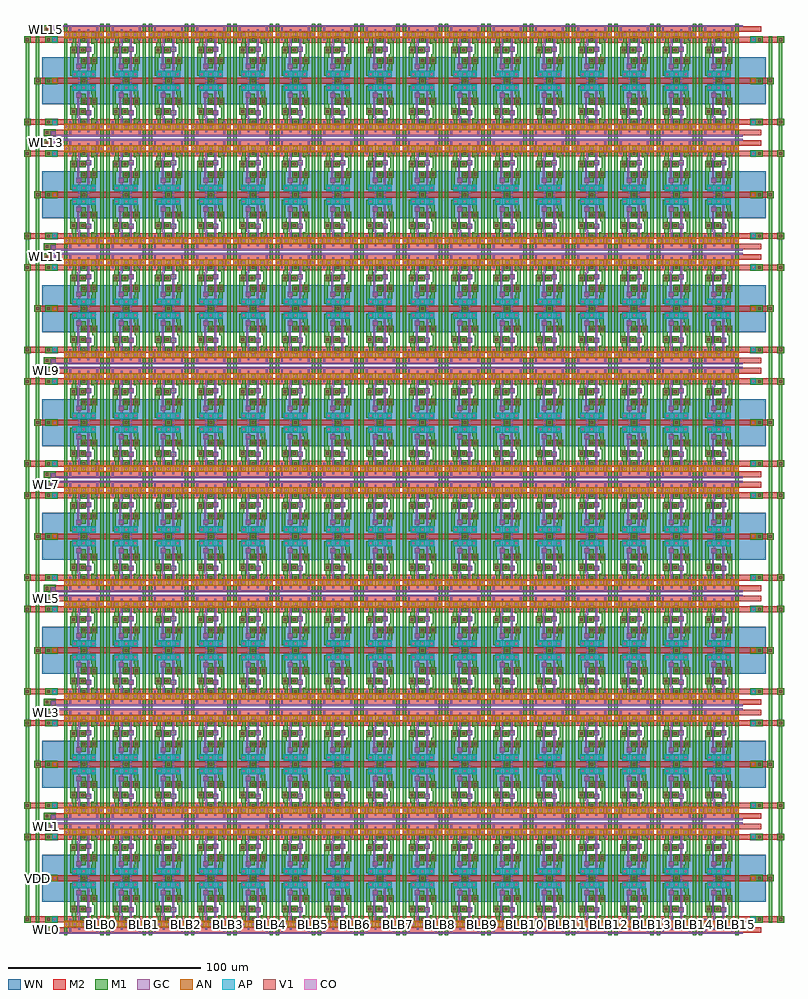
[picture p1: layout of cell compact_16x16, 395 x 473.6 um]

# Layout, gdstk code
import gdstk
lib = gdstk.Library(unit=1e-6, precision=1e-07)
def R(c, l, rs):  # rectangles x0, y0, x1, y1
    for r in rs: c.add(gdstk.rectangle(r[:2], r[2:], *l))
def A(c, l, x, y, w, h, nx, ny, dx, dy):  # array of equal rectangles
    R(c, l, [(x+i*dx, y+j*dy, x+i*dx+w, y+j*dy+h) for i in range(nx) for j in range(ny)])
def P(c, l, *ps):  # polygons
    for p in ps: c.add(gdstk.Polygon(p, *l))
AP = (3, 1)
AN = (3, 2)
GC = (8, 1)
CO = (11, 0)
M1 = (13, 0)
V1 = (19, 0)
M2 = (20, 0)
WN = (140, 0)

compact_core = lib.new_cell('compact_core')
R(compact_core, AP, [(3.5,18.7,15.7,22.1)])
R(compact_core, AN, [(-0.7,-1.7,19.9,1.7)])
R(compact_core, GC, [(0,-5.1,22,-4.1), (2.1,-5.1,3.1,2.9), (16.1,-5.1,17.1,2.9), (6.7,-2.9,7.7,5.6), (11.5,-2.9,12.5,23.3), (6.1,4.6,7.7,5.6), (6.1,4.6,7.1,17.9), (10.9,6.1,13.5,8.7), (11.5,6.9,12.7,7.9), (5.7,15.1,8.3,17.7), (6.1,15.9,7.5,16.9), (6.1,16.9,7.7,17.9), (6.7,16.9,7.7,23.3)])
A(compact_core, CO, 4.3, -0.5, 1, 1, 3, 2, 4.8, 20.4)
R(compact_core, CO, [(0.1,-0.5,1.1,0.5), (18.1,-0.5,19.1,0.5), (11.7,6.9,12.7,7.9), (6.5,15.9,7.5,16.9)])
P(compact_core, M1, [(8.3,-1.3),(8.3,0.8),(7.9,0.8),(7.9,4.2),(11.3,4.2),(11.3,0.8),(10.9,0.8),(10.9,-1.3)],
  [(10.9,6.1),(10.9,6.2),(7.3,6.2),(7.3,9.6),(10.7,9.6),(10.7,8.7),(13.5,8.7),(13.5,6.1)],
  [(7.9,11.6),(7.9,15.1),(5.7,15.1),(5.7,17.7),(8.3,17.7),(8.3,17.3),(10.5,17.3),(10.5,15),(11.3,15),(11.3,11.6)],
  [(3.5,-1.3),(3.5,1.3),(3.9,1.3),(3.9,4.1),(3.3,4.1),(3.3,6.2),(2.5,6.2),(2.5,21.3),(3.5,21.3),(3.5,21.7),(6.1,21.7),(6.1,19.1),(4.3,19.1),(4.3,11.9),(5.1,11.9),(5.1,9.6),(5.9,9.6),(5.9,6.2),(5.7,6.2),(5.7,1.3),(6.1,1.3),(6.1,-1.3)],
  [(13.1,-1.3),(13.1,1.3),(13.5,1.3),(13.5,4.5),(14.9,4.5),(14.9,10.1),(14.1,10.1),(14.1,11.6),(13.3,11.6),(13.3,15),(14.1,15),(14.1,16.9),(13.5,16.9),(13.5,19.1),(13.1,19.1),(13.1,21.7),(15.7,21.7),(15.7,18.7),(15.9,18.7),(15.9,15),(16.7,15),(16.7,2.7),(15.7,2.7),(15.7,-1.3)],
  [(-0.7,-5.7),(-0.7,23.9),(1.1,23.9),(1.1,1.3),(1.9,1.3),(1.9,-1.3),(1.1,-1.3),(1.1,-5.7)],
  [(18.1,-5.7),(18.1,-1.3),(17.3,-1.3),(17.3,1.3),(18.1,1.3),(18.1,23.9),(19.9,23.9),(19.9,-5.7)],
  [(8.3,19.1),(8.3,22.2),(7.9,22.2),(7.9,25.6),(11.3,25.6),(11.3,22.2),(10.9,22.2),(10.9,19.1)])
R(compact_core, V1, [(8.9,1.8,10.3,3.2), (3.5,7.2,4.9,8.6), (8.3,7.2,9.7,8.6), (8.9,12.6,10.3,14), (14.3,12.6,15.7,14), (8.9,23.2,10.3,24.6)])
R(compact_core, M2, [(0,-4.5,22,-1.5), (7.9,0.8,11.3,4.2), (0,1,22,4), (2.5,6.2,5.9,9.6), (2.5,6.2,10.7,9.6), (7.3,6.2,10.7,9.6), (7.9,11.6,11.3,15), (7.9,11.6,16.7,15), (13.3,11.6,16.7,15), (7.9,22.2,11.3,25.6), (0,22.4,22,25.4)])
R(compact_core, WN, [(-3.5,11.7,25.5,29.1)])

compact_16x16 = lib.new_cell('compact_16x16')
R(compact_16x16, AP, [(-6.9,6.9,-4.3,9.5), (356.3,6.9,358.9,9.5), (-6.9,49.7,-4.3,52.3), (356.3,49.7,358.9,52.3), (-6.9,66.1,-4.3,68.7), (356.3,66.1,358.9,68.7), (-6.9,108.9,-4.3,111.5), (356.3,108.9,358.9,111.5), (-6.9,125.3,-4.3,127.9), (356.3,125.3,358.9,127.9), (-6.9,168.1,-4.3,170.7), (356.3,168.1,358.9,170.7), (-6.9,184.5,-4.3,187.1), (356.3,184.5,358.9,187.1), (-6.9,227.3,-4.3,229.9), (356.3,227.3,358.9,229.9), (-6.9,243.7,-4.3,246.3), (356.3,243.7,358.9,246.3), (-6.9,286.5,-4.3,289.1), (356.3,286.5,358.9,289.1), (-6.9,302.9,-4.3,305.5), (356.3,302.9,358.9,305.5), (-6.9,345.7,-4.3,348.3), (356.3,345.7,358.9,348.3), (-6.9,362.1,-4.3,364.7), (356.3,362.1,358.9,364.7), (-6.9,404.9,-4.3,407.5), (356.3,404.9,358.9,407.5), (-6.9,421.3,-4.3,423.9), (356.3,421.3,358.9,423.9), (-6.9,464.1,-4.3,466.7), (356.3,464.1,358.9,466.7)])
A(compact_16x16, AN, -6.9, 28.3, 2.6, 2.6, 1, 8, 0, 59.2)
A(compact_16x16, AN, 356.3, 28.3, 2.6, 2.6, 1, 8, 0, 59.2)
R(compact_16x16, GC, [(-6.9,0.6,-5.9,2.5), (-6.4,0.6,0,1.6), (-7.7,0.7,-5.1,3.3), (-7.7,55.9,-5.1,58.5), (-6.9,56.7,-5.9,58.6), (-6.4,57.6,0,58.6), (-6.9,59.8,-5.9,61.7), (-6.4,59.8,0,60.8), (-7.7,59.9,-5.1,62.5), (-7.7,115.1,-5.1,117.7), (-6.9,115.9,-5.9,117.8), (-6.4,116.8,0,117.8), (-6.9,119,-5.9,120.9), (-6.4,119,0,120), (-7.7,119.1,-5.1,121.7), (-7.7,174.3,-5.1,176.9), (-6.9,175.1,-5.9,177), (-6.4,176,0,177), (-6.9,178.2,-5.9,180.1), (-6.4,178.2,0,179.2), (-7.7,178.3,-5.1,180.9), (-7.7,233.5,-5.1,236.1), (-6.9,234.3,-5.9,236.2), (-6.4,235.2,0,236.2), (-6.9,237.4,-5.9,239.3), (-6.4,237.4,0,238.4), (-7.7,237.5,-5.1,240.1), (-7.7,292.7,-5.1,295.3), (-6.9,293.5,-5.9,295.4), (-6.4,294.4,0,295.4), (-6.9,296.6,-5.9,298.5), (-6.4,296.6,0,297.6), (-7.7,296.7,-5.1,299.3), (-7.7,351.9,-5.1,354.5), (-6.9,352.7,-5.9,354.6), (-6.4,353.6,0,354.6), (-6.9,355.8,-5.9,357.7), (-6.4,355.8,0,356.8), (-7.7,355.9,-5.1,358.5), (-7.7,411.1,-5.1,413.7), (-6.9,411.9,-5.9,413.8), (-6.4,412.8,0,413.8), (-6.9,415,-5.9,416.9), (-6.4,415,0,416), (-7.7,415.1,-5.1,417.7), (-7.7,470.3,-5.1,472.9), (-6.9,471.1,-5.9,473), (-6.4,472,0,473)])
A(compact_16x16, CO, -6.1, 7.7, 1, 1, 1, 3, 0, 21.4)
A(compact_16x16, CO, 357.1, 7.7, 1, 1, 1, 3, 0, 21.4)
A(compact_16x16, CO, -6.1, 66.9, 1, 1, 1, 3, 0, 21.4)
A(compact_16x16, CO, 357.1, 66.9, 1, 1, 1, 3, 0, 21.4)
A(compact_16x16, CO, -6.1, 126.1, 1, 1, 1, 3, 0, 21.4)
A(compact_16x16, CO, 357.1, 126.1, 1, 1, 1, 3, 0, 21.4)
A(compact_16x16, CO, -6.1, 185.3, 1, 1, 1, 3, 0, 21.4)
A(compact_16x16, CO, 357.1, 185.3, 1, 1, 1, 3, 0, 21.4)
A(compact_16x16, CO, -6.1, 244.5, 1, 1, 1, 3, 0, 21.4)
A(compact_16x16, CO, 357.1, 244.5, 1, 1, 1, 3, 0, 21.4)
A(compact_16x16, CO, -6.1, 303.7, 1, 1, 1, 3, 0, 21.4)
A(compact_16x16, CO, 357.1, 303.7, 1, 1, 1, 3, 0, 21.4)
A(compact_16x16, CO, -6.1, 362.9, 1, 1, 1, 3, 0, 21.4)
A(compact_16x16, CO, 357.1, 362.9, 1, 1, 1, 3, 0, 21.4)
A(compact_16x16, CO, -6.1, 422.1, 1, 1, 1, 3, 0, 21.4)
A(compact_16x16, CO, 357.1, 422.1, 1, 1, 1, 3, 0, 21.4)
R(compact_16x16, CO, [(-6.9,1.5,-5.9,2.5), (-6.9,56.7,-5.9,57.7), (-6.9,60.7,-5.9,61.7), (-6.9,115.9,-5.9,116.9), (-6.9,119.9,-5.9,120.9), (-6.9,175.1,-5.9,176.1), (-6.9,179.1,-5.9,180.1), (-6.9,234.3,-5.9,235.3), (-6.9,238.3,-5.9,239.3), (-6.9,293.5,-5.9,294.5), (-6.9,297.5,-5.9,298.5), (-6.9,352.7,-5.9,353.7), (-6.9,356.7,-5.9,357.7), (-6.9,411.9,-5.9,412.9), (-6.9,415.9,-5.9,416.9), (-6.9,471.1,-5.9,472.1)])
A(compact_16x16, M1, -10.5, 6.5, 6.6, 3.4, 1, 3, 0, 21.4)
A(compact_16x16, M1, -10.5, 6.5, 3.4, 3.4, 1, 3, 0, 21.4)
A(compact_16x16, M1, 355.9, 6.5, 6.6, 3.4, 1, 3, 0, 21.4)
A(compact_16x16, M1, 359.1, 6.5, 3.4, 3.4, 1, 3, 0, 21.4)
A(compact_16x16, M1, -6.9, 6.9, 2.6, 2.6, 1, 3, 0, 21.4)
A(compact_16x16, M1, 356.3, 6.9, 2.6, 2.6, 1, 3, 0, 21.4)
A(compact_16x16, M1, -16.1, 27.9, 3.4, 3.4, 1, 8, 0, 59.2)
A(compact_16x16, M1, 364.7, 27.9, 3.4, 3.4, 1, 8, 0, 59.2)
A(compact_16x16, M1, -10.5, 65.7, 6.6, 3.4, 1, 3, 0, 21.4)
A(compact_16x16, M1, -10.5, 65.7, 3.4, 3.4, 1, 3, 0, 21.4)
A(compact_16x16, M1, 355.9, 65.7, 6.6, 3.4, 1, 3, 0, 21.4)
A(compact_16x16, M1, 359.1, 65.7, 3.4, 3.4, 1, 3, 0, 21.4)
A(compact_16x16, M1, -6.9, 66.1, 2.6, 2.6, 1, 3, 0, 21.4)
A(compact_16x16, M1, 356.3, 66.1, 2.6, 2.6, 1, 3, 0, 21.4)
A(compact_16x16, M1, -10.5, 124.9, 6.6, 3.4, 1, 3, 0, 21.4)
A(compact_16x16, M1, -10.5, 124.9, 3.4, 3.4, 1, 3, 0, 21.4)
A(compact_16x16, M1, 355.9, 124.9, 6.6, 3.4, 1, 3, 0, 21.4)
A(compact_16x16, M1, 359.1, 124.9, 3.4, 3.4, 1, 3, 0, 21.4)
A(compact_16x16, M1, -6.9, 125.3, 2.6, 2.6, 1, 3, 0, 21.4)
A(compact_16x16, M1, 356.3, 125.3, 2.6, 2.6, 1, 3, 0, 21.4)
A(compact_16x16, M1, -10.5, 184.1, 6.6, 3.4, 1, 3, 0, 21.4)
A(compact_16x16, M1, -10.5, 184.1, 3.4, 3.4, 1, 3, 0, 21.4)
A(compact_16x16, M1, 355.9, 184.1, 6.6, 3.4, 1, 3, 0, 21.4)
A(compact_16x16, M1, 359.1, 184.1, 3.4, 3.4, 1, 3, 0, 21.4)
A(compact_16x16, M1, -6.9, 184.5, 2.6, 2.6, 1, 3, 0, 21.4)
A(compact_16x16, M1, 356.3, 184.5, 2.6, 2.6, 1, 3, 0, 21.4)
A(compact_16x16, M1, -10.5, 243.3, 6.6, 3.4, 1, 3, 0, 21.4)
A(compact_16x16, M1, -10.5, 243.3, 3.4, 3.4, 1, 3, 0, 21.4)
A(compact_16x16, M1, 355.9, 243.3, 6.6, 3.4, 1, 3, 0, 21.4)
A(compact_16x16, M1, 359.1, 243.3, 3.4, 3.4, 1, 3, 0, 21.4)
A(compact_16x16, M1, -6.9, 243.7, 2.6, 2.6, 1, 3, 0, 21.4)
A(compact_16x16, M1, 356.3, 243.7, 2.6, 2.6, 1, 3, 0, 21.4)
A(compact_16x16, M1, -10.5, 302.5, 6.6, 3.4, 1, 3, 0, 21.4)
A(compact_16x16, M1, -10.5, 302.5, 3.4, 3.4, 1, 3, 0, 21.4)
A(compact_16x16, M1, 355.9, 302.5, 6.6, 3.4, 1, 3, 0, 21.4)
A(compact_16x16, M1, 359.1, 302.5, 3.4, 3.4, 1, 3, 0, 21.4)
A(compact_16x16, M1, -6.9, 302.9, 2.6, 2.6, 1, 3, 0, 21.4)
A(compact_16x16, M1, 356.3, 302.9, 2.6, 2.6, 1, 3, 0, 21.4)
A(compact_16x16, M1, -10.5, 361.7, 6.6, 3.4, 1, 3, 0, 21.4)
A(compact_16x16, M1, -10.5, 361.7, 3.4, 3.4, 1, 3, 0, 21.4)
A(compact_16x16, M1, 355.9, 361.7, 6.6, 3.4, 1, 3, 0, 21.4)
A(compact_16x16, M1, 359.1, 361.7, 3.4, 3.4, 1, 3, 0, 21.4)
A(compact_16x16, M1, -6.9, 362.1, 2.6, 2.6, 1, 3, 0, 21.4)
A(compact_16x16, M1, 356.3, 362.1, 2.6, 2.6, 1, 3, 0, 21.4)
A(compact_16x16, M1, -10.5, 420.9, 6.6, 3.4, 1, 3, 0, 21.4)
A(compact_16x16, M1, -10.5, 420.9, 3.4, 3.4, 1, 3, 0, 21.4)
A(compact_16x16, M1, 355.9, 420.9, 6.6, 3.4, 1, 3, 0, 21.4)
A(compact_16x16, M1, 359.1, 420.9, 3.4, 3.4, 1, 3, 0, 21.4)
A(compact_16x16, M1, -6.9, 421.3, 2.6, 2.6, 1, 3, 0, 21.4)
A(compact_16x16, M1, 356.3, 421.3, 2.6, 2.6, 1, 3, 0, 21.4)
R(compact_16x16, M1, [(-11.3,0.7,-5.1,4.4), (-7.7,0.7,-5.1,3.3), (-11.3,1,-7.9,4.4), (-21.5,6.5,-18.1,9.9), (-20.7,6.5,-18.9,467.1), (-15.3,6.5,-13.5,467.1), (365.5,6.5,367.3,467.1), (370.1,6.5,373.5,9.9), (370.9,6.5,372.7,467.1), (-21.5,49.3,-18.1,52.7), (370.1,49.3,373.5,52.7), (-11.3,54.8,-7.9,58.2), (-11.3,54.8,-5.1,58.5), (-7.7,55.9,-5.1,58.5), (-11.3,59.9,-5.1,63.6), (-7.7,59.9,-5.1,62.5), (-11.3,60.2,-7.9,63.6), (-21.5,65.7,-18.1,69.1), (370.1,65.7,373.5,69.1), (-21.5,108.5,-18.1,111.9), (370.1,108.5,373.5,111.9), (-11.3,114,-7.9,117.4), (-11.3,114,-5.1,117.7), (-7.7,115.1,-5.1,117.7), (-11.3,119.1,-5.1,122.8), (-7.7,119.1,-5.1,121.7), (-11.3,119.4,-7.9,122.8), (-21.5,124.9,-18.1,128.3), (370.1,124.9,373.5,128.3), (-21.5,167.7,-18.1,171.1), (370.1,167.7,373.5,171.1), (-11.3,173.2,-7.9,176.6), (-11.3,173.2,-5.1,176.9), (-7.7,174.3,-5.1,176.9), (-11.3,178.3,-5.1,182), (-7.7,178.3,-5.1,180.9), (-11.3,178.6,-7.9,182), (-21.5,184.1,-18.1,187.5), (370.1,184.1,373.5,187.5), (-21.5,226.9,-18.1,230.3), (370.1,226.9,373.5,230.3), (-11.3,232.4,-7.9,235.8), (-11.3,232.4,-5.1,236.1), (-7.7,233.5,-5.1,236.1), (-11.3,237.5,-5.1,241.2), (-7.7,237.5,-5.1,240.1), (-11.3,237.8,-7.9,241.2), (-21.5,243.3,-18.1,246.7), (370.1,243.3,373.5,246.7), (-21.5,286.1,-18.1,289.5), (370.1,286.1,373.5,289.5), (-11.3,291.6,-7.9,295), (-11.3,291.6,-5.1,295.3), (-7.7,292.7,-5.1,295.3), (-11.3,296.7,-5.1,300.4), (-7.7,296.7,-5.1,299.3), (-11.3,297,-7.9,300.4), (-21.5,302.5,-18.1,305.9), (370.1,302.5,373.5,305.9), (-21.5,345.3,-18.1,348.7), (370.1,345.3,373.5,348.7), (-11.3,350.8,-7.9,354.2), (-11.3,350.8,-5.1,354.5), (-7.7,351.9,-5.1,354.5), (-11.3,355.9,-5.1,359.6), (-7.7,355.9,-5.1,358.5), (-11.3,356.2,-7.9,359.6), (-21.5,361.7,-18.1,365.1), (370.1,361.7,373.5,365.1), (-21.5,404.5,-18.1,407.9), (370.1,404.5,373.5,407.9), (-11.3,410,-7.9,413.4), (-11.3,410,-5.1,413.7), (-7.7,411.1,-5.1,413.7), (-11.3,415.1,-5.1,418.8), (-7.7,415.1,-5.1,417.7), (-11.3,415.4,-7.9,418.8), (-21.5,420.9,-18.1,424.3), (370.1,420.9,373.5,424.3), (-21.5,463.7,-18.1,467.1), (370.1,463.7,373.5,467.1), (-11.3,469.2,-7.9,472.6), (-11.3,469.2,-5.1,472.9), (-7.7,470.3,-5.1,472.9)])
A(compact_16x16, V1, -9.5, 7.5, 1.4, 1.4, 1, 3, 0, 21.4)
A(compact_16x16, V1, 360.1, 7.5, 1.4, 1.4, 1, 3, 0, 21.4)
A(compact_16x16, V1, -15.1, 28.9, 1.4, 1.4, 1, 8, 0, 59.2)
A(compact_16x16, V1, 365.7, 28.9, 1.4, 1.4, 1, 8, 0, 59.2)
A(compact_16x16, V1, -9.5, 66.7, 1.4, 1.4, 1, 3, 0, 21.4)
A(compact_16x16, V1, 360.1, 66.7, 1.4, 1.4, 1, 3, 0, 21.4)
A(compact_16x16, V1, -9.5, 125.9, 1.4, 1.4, 1, 3, 0, 21.4)
A(compact_16x16, V1, 360.1, 125.9, 1.4, 1.4, 1, 3, 0, 21.4)
A(compact_16x16, V1, -9.5, 185.1, 1.4, 1.4, 1, 3, 0, 21.4)
A(compact_16x16, V1, 360.1, 185.1, 1.4, 1.4, 1, 3, 0, 21.4)
A(compact_16x16, V1, -9.5, 244.3, 1.4, 1.4, 1, 3, 0, 21.4)
A(compact_16x16, V1, 360.1, 244.3, 1.4, 1.4, 1, 3, 0, 21.4)
A(compact_16x16, V1, -9.5, 303.5, 1.4, 1.4, 1, 3, 0, 21.4)
A(compact_16x16, V1, 360.1, 303.5, 1.4, 1.4, 1, 3, 0, 21.4)
A(compact_16x16, V1, -9.5, 362.7, 1.4, 1.4, 1, 3, 0, 21.4)
A(compact_16x16, V1, 360.1, 362.7, 1.4, 1.4, 1, 3, 0, 21.4)
A(compact_16x16, V1, -9.5, 421.9, 1.4, 1.4, 1, 3, 0, 21.4)
A(compact_16x16, V1, 360.1, 421.9, 1.4, 1.4, 1, 3, 0, 21.4)
R(compact_16x16, V1, [(-10.3,2,-8.9,3.4), (-20.5,7.5,-19.1,8.9), (371.1,7.5,372.5,8.9), (-20.5,50.3,-19.1,51.7), (371.1,50.3,372.5,51.7), (-10.3,55.8,-8.9,57.2), (-10.3,61.2,-8.9,62.6), (-20.5,66.7,-19.1,68.1), (371.1,66.7,372.5,68.1), (-20.5,109.5,-19.1,110.9), (371.1,109.5,372.5,110.9), (-10.3,115,-8.9,116.4), (-10.3,120.4,-8.9,121.8), (-20.5,125.9,-19.1,127.3), (371.1,125.9,372.5,127.3), (-20.5,168.7,-19.1,170.1), (371.1,168.7,372.5,170.1), (-10.3,174.2,-8.9,175.6), (-10.3,179.6,-8.9,181), (-20.5,185.1,-19.1,186.5), (371.1,185.1,372.5,186.5), (-20.5,227.9,-19.1,229.3), (371.1,227.9,372.5,229.3), (-10.3,233.4,-8.9,234.8), (-10.3,238.8,-8.9,240.2), (-20.5,244.3,-19.1,245.7), (371.1,244.3,372.5,245.7), (-20.5,287.1,-19.1,288.5), (371.1,287.1,372.5,288.5), (-10.3,292.6,-8.9,294), (-10.3,298,-8.9,299.4), (-20.5,303.5,-19.1,304.9), (371.1,303.5,372.5,304.9), (-20.5,346.3,-19.1,347.7), (371.1,346.3,372.5,347.7), (-10.3,351.8,-8.9,353.2), (-10.3,357.2,-8.9,358.6), (-20.5,362.7,-19.1,364.1), (371.1,362.7,372.5,364.1), (-20.5,405.5,-19.1,406.9), (371.1,405.5,372.5,406.9), (-10.3,411,-8.9,412.4), (-10.3,416.4,-8.9,417.8), (-20.5,421.9,-19.1,423.3), (371.1,421.9,372.5,423.3), (-20.5,464.7,-19.1,466.1), (371.1,464.7,372.5,466.1), (-10.3,470.2,-8.9,471.6)])
A(compact_16x16, M2, -10.5, 6.5, 3.4, 3.4, 1, 3, 0, 21.4)
A(compact_16x16, M2, 359.1, 6.5, 3.4, 3.4, 1, 3, 0, 21.4)
A(compact_16x16, M2, -16.1, 27.9, 3.4, 3.4, 1, 8, 0, 59.2)
A(compact_16x16, M2, 364.7, 27.9, 3.4, 3.4, 1, 8, 0, 59.2)
A(compact_16x16, M2, -16.1, 28.1, 369.8, 3, 1, 8, 0, 59.2)
A(compact_16x16, M2, -1.7, 28.1, 369.8, 3, 1, 8, 0, 59.2)
A(compact_16x16, M2, -10.5, 65.7, 3.4, 3.4, 1, 3, 0, 21.4)
A(compact_16x16, M2, 359.1, 65.7, 3.4, 3.4, 1, 3, 0, 21.4)
A(compact_16x16, M2, -10.5, 124.9, 3.4, 3.4, 1, 3, 0, 21.4)
A(compact_16x16, M2, 359.1, 124.9, 3.4, 3.4, 1, 3, 0, 21.4)
A(compact_16x16, M2, -10.5, 184.1, 3.4, 3.4, 1, 3, 0, 21.4)
A(compact_16x16, M2, 359.1, 184.1, 3.4, 3.4, 1, 3, 0, 21.4)
A(compact_16x16, M2, -10.5, 243.3, 3.4, 3.4, 1, 3, 0, 21.4)
A(compact_16x16, M2, 359.1, 243.3, 3.4, 3.4, 1, 3, 0, 21.4)
A(compact_16x16, M2, -10.5, 302.5, 3.4, 3.4, 1, 3, 0, 21.4)
A(compact_16x16, M2, 359.1, 302.5, 3.4, 3.4, 1, 3, 0, 21.4)
A(compact_16x16, M2, -10.5, 361.7, 3.4, 3.4, 1, 3, 0, 21.4)
A(compact_16x16, M2, 359.1, 361.7, 3.4, 3.4, 1, 3, 0, 21.4)
A(compact_16x16, M2, -10.5, 420.9, 3.4, 3.4, 1, 3, 0, 21.4)
A(compact_16x16, M2, 359.1, 420.9, 3.4, 3.4, 1, 3, 0, 21.4)
R(compact_16x16, M2, [(-11.3,1,-7.9,4.4), (-9.6,1.2,361.6,4.2), (-21.5,6.5,-18.1,9.9), (370.1,6.5,373.5,9.9), (-21.5,6.7,353.7,9.7), (-1.7,6.7,373.5,9.7), (-21.5,49.3,-18.1,52.7), (370.1,49.3,373.5,52.7), (-21.5,49.5,353.7,52.5), (-1.7,49.5,373.5,52.5), (-11.3,54.8,-7.9,58.2), (-9.6,55,361.6,58), (-11.3,60.2,-7.9,63.6), (-9.6,60.4,361.6,63.4), (-21.5,65.7,-18.1,69.1), (370.1,65.7,373.5,69.1), (-21.5,65.9,353.7,68.9), (-1.7,65.9,373.5,68.9), (-21.5,108.5,-18.1,111.9), (370.1,108.5,373.5,111.9), (-21.5,108.7,353.7,111.7), (-1.7,108.7,373.5,111.7), (-11.3,114,-7.9,117.4), (-9.6,114.2,361.6,117.2), (-11.3,119.4,-7.9,122.8), (-9.6,119.6,361.6,122.6), (-21.5,124.9,-18.1,128.3), (370.1,124.9,373.5,128.3), (-21.5,125.1,353.7,128.1), (-1.7,125.1,373.5,128.1), (-21.5,167.7,-18.1,171.1), (370.1,167.7,373.5,171.1), (-21.5,167.9,353.7,170.9), (-1.7,167.9,373.5,170.9), (-11.3,173.2,-7.9,176.6), (-9.6,173.4,361.6,176.4), (-11.3,178.6,-7.9,182), (-9.6,178.8,361.6,181.8), (-21.5,184.1,-18.1,187.5), (370.1,184.1,373.5,187.5), (-21.5,184.3,353.7,187.3), (-1.7,184.3,373.5,187.3), (-21.5,226.9,-18.1,230.3), (370.1,226.9,373.5,230.3), (-21.5,227.1,353.7,230.1), (-1.7,227.1,373.5,230.1), (-11.3,232.4,-7.9,235.8), (-9.6,232.6,361.6,235.6), (-11.3,237.8,-7.9,241.2), (-9.6,238,361.6,241), (-21.5,243.3,-18.1,246.7), (370.1,243.3,373.5,246.7), (-21.5,243.5,353.7,246.5), (-1.7,243.5,373.5,246.5), (-21.5,286.1,-18.1,289.5), (370.1,286.1,373.5,289.5), (-21.5,286.3,353.7,289.3), (-1.7,286.3,373.5,289.3), (-11.3,291.6,-7.9,295), (-9.6,291.8,361.6,294.8), (-11.3,297,-7.9,300.4), (-9.6,297.2,361.6,300.2), (-21.5,302.5,-18.1,305.9), (370.1,302.5,373.5,305.9), (-21.5,302.7,353.7,305.7), (-1.7,302.7,373.5,305.7), (-21.5,345.3,-18.1,348.7), (370.1,345.3,373.5,348.7), (-21.5,345.5,353.7,348.5), (-1.7,345.5,373.5,348.5), (-11.3,350.8,-7.9,354.2), (-9.6,351,361.6,354), (-11.3,356.2,-7.9,359.6), (-9.6,356.4,361.6,359.4), (-21.5,361.7,-18.1,365.1), (370.1,361.7,373.5,365.1), (-21.5,361.9,353.7,364.9), (-1.7,361.9,373.5,364.9), (-21.5,404.5,-18.1,407.9), (370.1,404.5,373.5,407.9), (-21.5,404.7,353.7,407.7), (-1.7,404.7,373.5,407.7), (-11.3,410,-7.9,413.4), (-9.6,410.2,361.6,413.2), (-11.3,415.4,-7.9,418.8), (-9.6,415.6,361.6,418.6), (-21.5,420.9,-18.1,424.3), (370.1,420.9,373.5,424.3), (-21.5,421.1,353.7,424.1), (-1.7,421.1,373.5,424.1), (-21.5,463.7,-18.1,467.1), (370.1,463.7,373.5,467.1), (-21.5,463.9,353.7,466.9), (-1.7,463.9,373.5,466.9), (-11.3,469.2,-7.9,472.6), (-9.6,469.4,361.6,472.4)])
A(compact_16x16, WN, -12, 17.4, 376, 24.4, 1, 8, 0, 59.2)
A(compact_16x16, WN, 0, 17.4, 364, 24.4, 1, 8, 0, 59.2)
compact_16x16.add(gdstk.Reference(compact_core, (154,5.7)))
compact_16x16.add(gdstk.Reference(compact_core, (176,5.7)))
compact_16x16.add(gdstk.Reference(compact_core, (154,53.5), x_reflection=True))
compact_16x16.add(gdstk.Reference(compact_core, (176,53.5), x_reflection=True))
compact_16x16.add(gdstk.Reference(compact_core, (154,64.9)))
compact_16x16.add(gdstk.Reference(compact_core, (176,64.9)))
compact_16x16.add(gdstk.Reference(compact_core, (154,112.7), x_reflection=True))
compact_16x16.add(gdstk.Reference(compact_core, (176,112.7), x_reflection=True))
compact_16x16.add(gdstk.Reference(compact_core, (154,124.1)))
compact_16x16.add(gdstk.Reference(compact_core, (176,124.1)))
compact_16x16.add(gdstk.Reference(compact_core, (154,171.9), x_reflection=True))
compact_16x16.add(gdstk.Reference(compact_core, (176,171.9), x_reflection=True))
compact_16x16.add(gdstk.Reference(compact_core, (154,183.3)))
compact_16x16.add(gdstk.Reference(compact_core, (176,183.3)))
compact_16x16.add(gdstk.Reference(compact_core, (154,231.1), x_reflection=True))
compact_16x16.add(gdstk.Reference(compact_core, (176,231.1), x_reflection=True))
compact_16x16.add(gdstk.Reference(compact_core, (154,242.5)))
compact_16x16.add(gdstk.Reference(compact_core, (176,242.5)))
compact_16x16.add(gdstk.Reference(compact_core, (154,290.3), x_reflection=True))
compact_16x16.add(gdstk.Reference(compact_core, (176,290.3), x_reflection=True))
compact_16x16.add(gdstk.Reference(compact_core, (154,301.7)))
compact_16x16.add(gdstk.Reference(compact_core, (176,301.7)))
compact_16x16.add(gdstk.Reference(compact_core, (154,349.5), x_reflection=True))
compact_16x16.add(gdstk.Reference(compact_core, (176,349.5), x_reflection=True))
compact_16x16.add(gdstk.Reference(compact_core, (154,360.9)))
compact_16x16.add(gdstk.Reference(compact_core, (176,360.9)))
compact_16x16.add(gdstk.Reference(compact_core, (154,408.7), x_reflection=True))
compact_16x16.add(gdstk.Reference(compact_core, (176,408.7), x_reflection=True))
compact_16x16.add(gdstk.Reference(compact_core, (154,420.1)))
compact_16x16.add(gdstk.Reference(compact_core, (176,420.1)))
compact_16x16.add(gdstk.Reference(compact_core, (154,467.9), x_reflection=True))
compact_16x16.add(gdstk.Reference(compact_core, (176,467.9), x_reflection=True))
compact_16x16.add(gdstk.Reference(compact_core, (308,290.3), x_reflection=True))
compact_16x16.add(gdstk.Reference(compact_core, (330,290.3), x_reflection=True))
compact_16x16.add(gdstk.Reference(compact_core, (242,242.5)))
compact_16x16.add(gdstk.Reference(compact_core, (264,242.5)))
compact_16x16.add(gdstk.Reference(compact_core, (198,301.7)))
compact_16x16.add(gdstk.Reference(compact_core, (220,301.7)))
compact_16x16.add(gdstk.Reference(compact_core, (242,301.7)))
compact_16x16.add(gdstk.Reference(compact_core, (264,301.7)))
compact_16x16.add(gdstk.Reference(compact_core, (286,301.7)))
compact_16x16.add(gdstk.Reference(compact_core, (308,301.7)))
compact_16x16.add(gdstk.Reference(compact_core, (330,301.7)))
compact_16x16.add(gdstk.Reference(compact_core, (286,242.5)))
compact_16x16.add(gdstk.Reference(compact_core, (308,242.5)))
compact_16x16.add(gdstk.Reference(compact_core, (198,349.5), x_reflection=True))
compact_16x16.add(gdstk.Reference(compact_core, (220,349.5), x_reflection=True))
compact_16x16.add(gdstk.Reference(compact_core, (242,349.5), x_reflection=True))
compact_16x16.add(gdstk.Reference(compact_core, (264,349.5), x_reflection=True))
compact_16x16.add(gdstk.Reference(compact_core, (286,349.5), x_reflection=True))
compact_16x16.add(gdstk.Reference(compact_core, (308,349.5), x_reflection=True))
compact_16x16.add(gdstk.Reference(compact_core, (330,349.5), x_reflection=True))
compact_16x16.add(gdstk.Reference(compact_core, (330,242.5)))
compact_16x16.add(gdstk.Reference(compact_core, (198,242.5)))
compact_16x16.add(gdstk.Reference(compact_core, (198,360.9)))
compact_16x16.add(gdstk.Reference(compact_core, (220,360.9)))
compact_16x16.add(gdstk.Reference(compact_core, (242,360.9)))
compact_16x16.add(gdstk.Reference(compact_core, (264,360.9)))
compact_16x16.add(gdstk.Reference(compact_core, (286,360.9)))
compact_16x16.add(gdstk.Reference(compact_core, (308,360.9)))
compact_16x16.add(gdstk.Reference(compact_core, (330,360.9)))
compact_16x16.add(gdstk.Reference(compact_core, (220,242.5)))
compact_16x16.add(gdstk.Reference(compact_core, (198,290.3), x_reflection=True))
compact_16x16.add(gdstk.Reference(compact_core, (198,408.7), x_reflection=True))
compact_16x16.add(gdstk.Reference(compact_core, (220,408.7), x_reflection=True))
compact_16x16.add(gdstk.Reference(compact_core, (242,408.7), x_reflection=True))
compact_16x16.add(gdstk.Reference(compact_core, (264,408.7), x_reflection=True))
compact_16x16.add(gdstk.Reference(compact_core, (286,408.7), x_reflection=True))
compact_16x16.add(gdstk.Reference(compact_core, (308,408.7), x_reflection=True))
compact_16x16.add(gdstk.Reference(compact_core, (330,408.7), x_reflection=True))
compact_16x16.add(gdstk.Reference(compact_core, (220,290.3), x_reflection=True))
compact_16x16.add(gdstk.Reference(compact_core, (242,290.3), x_reflection=True))
compact_16x16.add(gdstk.Reference(compact_core, (198,420.1)))
compact_16x16.add(gdstk.Reference(compact_core, (220,420.1)))
compact_16x16.add(gdstk.Reference(compact_core, (242,420.1)))
compact_16x16.add(gdstk.Reference(compact_core, (264,420.1)))
compact_16x16.add(gdstk.Reference(compact_core, (286,420.1)))
compact_16x16.add(gdstk.Reference(compact_core, (308,420.1)))
compact_16x16.add(gdstk.Reference(compact_core, (330,420.1)))
compact_16x16.add(gdstk.Reference(compact_core, (264,290.3), x_reflection=True))
compact_16x16.add(gdstk.Reference(compact_core, (286,290.3), x_reflection=True))
compact_16x16.add(gdstk.Reference(compact_core, (198,467.9), x_reflection=True))
compact_16x16.add(gdstk.Reference(compact_core, (220,467.9), x_reflection=True))
compact_16x16.add(gdstk.Reference(compact_core, (242,467.9), x_reflection=True))
compact_16x16.add(gdstk.Reference(compact_core, (264,467.9), x_reflection=True))
compact_16x16.add(gdstk.Reference(compact_core, (286,467.9), x_reflection=True))
compact_16x16.add(gdstk.Reference(compact_core, (308,467.9), x_reflection=True))
compact_16x16.add(gdstk.Reference(compact_core, (330,467.9), x_reflection=True))
compact_16x16.add(gdstk.Reference(compact_core, (110,301.7)))
compact_16x16.add(gdstk.Reference(compact_core, (132,301.7)))
compact_16x16.add(gdstk.Reference(compact_core, (44,290.3), x_reflection=True))
compact_16x16.add(gdstk.Reference(compact_core, (66,290.3), x_reflection=True))
compact_16x16.add(gdstk.Reference(compact_core, (88,290.3), x_reflection=True))
compact_16x16.add(gdstk.Reference(compact_core, (110,290.3), x_reflection=True))
compact_16x16.add(gdstk.Reference(compact_core, (132,290.3), x_reflection=True))
compact_16x16.add(gdstk.Reference(compact_core, (44,242.5)))
compact_16x16.add(gdstk.Reference(compact_core, (0,408.7), x_reflection=True))
compact_16x16.add(gdstk.Reference(compact_core, (22,408.7), x_reflection=True))
compact_16x16.add(gdstk.Reference(compact_core, (44,408.7), x_reflection=True))
compact_16x16.add(gdstk.Reference(compact_core, (66,408.7), x_reflection=True))
compact_16x16.add(gdstk.Reference(compact_core, (88,408.7), x_reflection=True))
compact_16x16.add(gdstk.Reference(compact_core, (110,408.7), x_reflection=True))
compact_16x16.add(gdstk.Reference(compact_core, (132,408.7), x_reflection=True))
compact_16x16.add(gdstk.Reference(compact_core, (66,242.5)))
compact_16x16.add(gdstk.Reference(compact_core, (88,242.5)))
compact_16x16.add(gdstk.Reference(compact_core, (110,242.5)))
compact_16x16.add(gdstk.Reference(compact_core, (0,349.5), x_reflection=True))
compact_16x16.add(gdstk.Reference(compact_core, (22,349.5), x_reflection=True))
compact_16x16.add(gdstk.Reference(compact_core, (44,349.5), x_reflection=True))
compact_16x16.add(gdstk.Reference(compact_core, (66,349.5), x_reflection=True))
compact_16x16.add(gdstk.Reference(compact_core, (88,349.5), x_reflection=True))
compact_16x16.add(gdstk.Reference(compact_core, (110,349.5), x_reflection=True))
compact_16x16.add(gdstk.Reference(compact_core, (0,420.1)))
compact_16x16.add(gdstk.Reference(compact_core, (22,420.1)))
compact_16x16.add(gdstk.Reference(compact_core, (44,420.1)))
compact_16x16.add(gdstk.Reference(compact_core, (66,420.1)))
compact_16x16.add(gdstk.Reference(compact_core, (88,420.1)))
compact_16x16.add(gdstk.Reference(compact_core, (110,420.1)))
compact_16x16.add(gdstk.Reference(compact_core, (132,420.1)))
compact_16x16.add(gdstk.Reference(compact_core, (132,349.5), x_reflection=True))
compact_16x16.add(gdstk.Reference(compact_core, (132,242.5)))
compact_16x16.add(gdstk.Reference(compact_core, (0,242.5)))
compact_16x16.add(gdstk.Reference(compact_core, (22,242.5)))
compact_16x16.add(gdstk.Reference(compact_core, (0,290.3), x_reflection=True))
compact_16x16.add(gdstk.Reference(compact_core, (22,290.3), x_reflection=True))
compact_16x16.add(gdstk.Reference(compact_core, (0,301.7)))
compact_16x16.add(gdstk.Reference(compact_core, (22,301.7)))
compact_16x16.add(gdstk.Reference(compact_core, (44,301.7)))
compact_16x16.add(gdstk.Reference(compact_core, (0,467.9), x_reflection=True))
compact_16x16.add(gdstk.Reference(compact_core, (22,467.9), x_reflection=True))
compact_16x16.add(gdstk.Reference(compact_core, (44,467.9), x_reflection=True))
compact_16x16.add(gdstk.Reference(compact_core, (66,467.9), x_reflection=True))
compact_16x16.add(gdstk.Reference(compact_core, (88,467.9), x_reflection=True))
compact_16x16.add(gdstk.Reference(compact_core, (110,467.9), x_reflection=True))
compact_16x16.add(gdstk.Reference(compact_core, (132,467.9), x_reflection=True))
compact_16x16.add(gdstk.Reference(compact_core, (66,301.7)))
compact_16x16.add(gdstk.Reference(compact_core, (0,360.9)))
compact_16x16.add(gdstk.Reference(compact_core, (22,360.9)))
compact_16x16.add(gdstk.Reference(compact_core, (44,360.9)))
compact_16x16.add(gdstk.Reference(compact_core, (66,360.9)))
compact_16x16.add(gdstk.Reference(compact_core, (88,360.9)))
compact_16x16.add(gdstk.Reference(compact_core, (110,360.9)))
compact_16x16.add(gdstk.Reference(compact_core, (132,360.9)))
compact_16x16.add(gdstk.Reference(compact_core, (88,301.7)))
compact_16x16.add(gdstk.Reference(compact_core, (110,112.7), x_reflection=True))
compact_16x16.add(gdstk.Reference(compact_core, (132,112.7), x_reflection=True))
compact_16x16.add(gdstk.Reference(compact_core, (132,5.7)))
compact_16x16.add(gdstk.Reference(compact_core, (0,5.7)))
compact_16x16.add(gdstk.Reference(compact_core, (0,124.1)))
compact_16x16.add(gdstk.Reference(compact_core, (22,124.1)))
compact_16x16.add(gdstk.Reference(compact_core, (44,124.1)))
compact_16x16.add(gdstk.Reference(compact_core, (66,124.1)))
compact_16x16.add(gdstk.Reference(compact_core, (88,124.1)))
compact_16x16.add(gdstk.Reference(compact_core, (110,124.1)))
compact_16x16.add(gdstk.Reference(compact_core, (132,124.1)))
compact_16x16.add(gdstk.Reference(compact_core, (22,5.7)))
compact_16x16.add(gdstk.Reference(compact_core, (0,53.5), x_reflection=True))
compact_16x16.add(gdstk.Reference(compact_core, (0,171.9), x_reflection=True))
compact_16x16.add(gdstk.Reference(compact_core, (22,171.9), x_reflection=True))
compact_16x16.add(gdstk.Reference(compact_core, (44,171.9), x_reflection=True))
compact_16x16.add(gdstk.Reference(compact_core, (66,171.9), x_reflection=True))
compact_16x16.add(gdstk.Reference(compact_core, (88,171.9), x_reflection=True))
compact_16x16.add(gdstk.Reference(compact_core, (110,171.9), x_reflection=True))
compact_16x16.add(gdstk.Reference(compact_core, (132,171.9), x_reflection=True))
compact_16x16.add(gdstk.Reference(compact_core, (22,53.5), x_reflection=True))
compact_16x16.add(gdstk.Reference(compact_core, (44,53.5), x_reflection=True))
compact_16x16.add(gdstk.Reference(compact_core, (0,183.3)))
compact_16x16.add(gdstk.Reference(compact_core, (22,183.3)))
compact_16x16.add(gdstk.Reference(compact_core, (44,183.3)))
compact_16x16.add(gdstk.Reference(compact_core, (66,183.3)))
compact_16x16.add(gdstk.Reference(compact_core, (88,183.3)))
compact_16x16.add(gdstk.Reference(compact_core, (110,183.3)))
compact_16x16.add(gdstk.Reference(compact_core, (132,183.3)))
compact_16x16.add(gdstk.Reference(compact_core, (66,53.5), x_reflection=True))
compact_16x16.add(gdstk.Reference(compact_core, (88,53.5), x_reflection=True))
compact_16x16.add(gdstk.Reference(compact_core, (0,231.1), x_reflection=True))
compact_16x16.add(gdstk.Reference(compact_core, (22,231.1), x_reflection=True))
compact_16x16.add(gdstk.Reference(compact_core, (44,231.1), x_reflection=True))
compact_16x16.add(gdstk.Reference(compact_core, (66,231.1), x_reflection=True))
compact_16x16.add(gdstk.Reference(compact_core, (88,231.1), x_reflection=True))
compact_16x16.add(gdstk.Reference(compact_core, (110,231.1), x_reflection=True))
compact_16x16.add(gdstk.Reference(compact_core, (132,231.1), x_reflection=True))
compact_16x16.add(gdstk.Reference(compact_core, (110,53.5), x_reflection=True))
compact_16x16.add(gdstk.Reference(compact_core, (132,53.5), x_reflection=True))
compact_16x16.add(gdstk.Reference(compact_core, (44,5.7)))
compact_16x16.add(gdstk.Reference(compact_core, (66,5.7)))
compact_16x16.add(gdstk.Reference(compact_core, (0,64.9)))
compact_16x16.add(gdstk.Reference(compact_core, (22,64.9)))
compact_16x16.add(gdstk.Reference(compact_core, (44,64.9)))
compact_16x16.add(gdstk.Reference(compact_core, (66,64.9)))
compact_16x16.add(gdstk.Reference(compact_core, (88,64.9)))
compact_16x16.add(gdstk.Reference(compact_core, (110,64.9)))
compact_16x16.add(gdstk.Reference(compact_core, (132,64.9)))
compact_16x16.add(gdstk.Reference(compact_core, (88,5.7)))
compact_16x16.add(gdstk.Reference(compact_core, (110,5.7)))
compact_16x16.add(gdstk.Reference(compact_core, (0,112.7), x_reflection=True))
compact_16x16.add(gdstk.Reference(compact_core, (22,112.7), x_reflection=True))
compact_16x16.add(gdstk.Reference(compact_core, (44,112.7), x_reflection=True))
compact_16x16.add(gdstk.Reference(compact_core, (66,112.7), x_reflection=True))
compact_16x16.add(gdstk.Reference(compact_core, (88,112.7), x_reflection=True))
compact_16x16.add(gdstk.Reference(compact_core, (242,5.7)))
compact_16x16.add(gdstk.Reference(compact_core, (198,171.9), x_reflection=True))
compact_16x16.add(gdstk.Reference(compact_core, (220,171.9), x_reflection=True))
compact_16x16.add(gdstk.Reference(compact_core, (242,171.9), x_reflection=True))
compact_16x16.add(gdstk.Reference(compact_core, (264,171.9), x_reflection=True))
compact_16x16.add(gdstk.Reference(compact_core, (286,171.9), x_reflection=True))
compact_16x16.add(gdstk.Reference(compact_core, (308,171.9), x_reflection=True))
compact_16x16.add(gdstk.Reference(compact_core, (330,171.9), x_reflection=True))
compact_16x16.add(gdstk.Reference(compact_core, (264,5.7)))
compact_16x16.add(gdstk.Reference(compact_core, (286,5.7)))
compact_16x16.add(gdstk.Reference(compact_core, (308,5.7)))
compact_16x16.add(gdstk.Reference(compact_core, (198,112.7), x_reflection=True))
compact_16x16.add(gdstk.Reference(compact_core, (220,112.7), x_reflection=True))
compact_16x16.add(gdstk.Reference(compact_core, (242,112.7), x_reflection=True))
compact_16x16.add(gdstk.Reference(compact_core, (264,112.7), x_reflection=True))
compact_16x16.add(gdstk.Reference(compact_core, (286,112.7), x_reflection=True))
compact_16x16.add(gdstk.Reference(compact_core, (308,112.7), x_reflection=True))
compact_16x16.add(gdstk.Reference(compact_core, (198,183.3)))
compact_16x16.add(gdstk.Reference(compact_core, (220,183.3)))
compact_16x16.add(gdstk.Reference(compact_core, (242,183.3)))
compact_16x16.add(gdstk.Reference(compact_core, (264,183.3)))
compact_16x16.add(gdstk.Reference(compact_core, (286,183.3)))
compact_16x16.add(gdstk.Reference(compact_core, (308,183.3)))
compact_16x16.add(gdstk.Reference(compact_core, (330,183.3)))
compact_16x16.add(gdstk.Reference(compact_core, (330,112.7), x_reflection=True))
compact_16x16.add(gdstk.Reference(compact_core, (330,5.7)))
compact_16x16.add(gdstk.Reference(compact_core, (198,5.7)))
compact_16x16.add(gdstk.Reference(compact_core, (220,5.7)))
compact_16x16.add(gdstk.Reference(compact_core, (198,53.5), x_reflection=True))
compact_16x16.add(gdstk.Reference(compact_core, (220,53.5), x_reflection=True))
compact_16x16.add(gdstk.Reference(compact_core, (198,64.9)))
compact_16x16.add(gdstk.Reference(compact_core, (220,64.9)))
compact_16x16.add(gdstk.Reference(compact_core, (242,64.9)))
compact_16x16.add(gdstk.Reference(compact_core, (198,231.1), x_reflection=True))
compact_16x16.add(gdstk.Reference(compact_core, (220,231.1), x_reflection=True))
compact_16x16.add(gdstk.Reference(compact_core, (242,231.1), x_reflection=True))
compact_16x16.add(gdstk.Reference(compact_core, (264,231.1), x_reflection=True))
compact_16x16.add(gdstk.Reference(compact_core, (286,231.1), x_reflection=True))
compact_16x16.add(gdstk.Reference(compact_core, (308,231.1), x_reflection=True))
compact_16x16.add(gdstk.Reference(compact_core, (330,231.1), x_reflection=True))
compact_16x16.add(gdstk.Reference(compact_core, (264,64.9)))
compact_16x16.add(gdstk.Reference(compact_core, (198,124.1)))
compact_16x16.add(gdstk.Reference(compact_core, (220,124.1)))
compact_16x16.add(gdstk.Reference(compact_core, (242,124.1)))
compact_16x16.add(gdstk.Reference(compact_core, (264,124.1)))
compact_16x16.add(gdstk.Reference(compact_core, (286,124.1)))
compact_16x16.add(gdstk.Reference(compact_core, (308,124.1)))
compact_16x16.add(gdstk.Reference(compact_core, (330,124.1)))
compact_16x16.add(gdstk.Reference(compact_core, (286,64.9)))
compact_16x16.add(gdstk.Reference(compact_core, (308,64.9)))
compact_16x16.add(gdstk.Reference(compact_core, (330,64.9)))
compact_16x16.add(gdstk.Reference(compact_core, (242,53.5), x_reflection=True))
compact_16x16.add(gdstk.Reference(compact_core, (264,53.5), x_reflection=True))
compact_16x16.add(gdstk.Reference(compact_core, (286,53.5), x_reflection=True))
compact_16x16.add(gdstk.Reference(compact_core, (308,53.5), x_reflection=True))
compact_16x16.add(gdstk.Reference(compact_core, (330,53.5), x_reflection=True))
compact_16x16.add(gdstk.Label('WL0', (-9.6,2.7), layer=49, texttype=0))
compact_16x16.add(gdstk.Label('WL1', (-9.6,56.5), layer=49, texttype=0))
compact_16x16.add(gdstk.Label('WL2', (-9.6,61.9), layer=49, texttype=0))
compact_16x16.add(gdstk.Label('WL3', (-9.6,115.7), layer=49, texttype=0))
compact_16x16.add(gdstk.Label('WL4', (-9.6,121.1), layer=49, texttype=0))
compact_16x16.add(gdstk.Label('WL5', (-9.6,174.9), layer=49, texttype=0))
compact_16x16.add(gdstk.Label('WL6', (-9.6,180.3), layer=49, texttype=0))
compact_16x16.add(gdstk.Label('WL7', (-9.6,234.1), layer=49, texttype=0))
compact_16x16.add(gdstk.Label('WL8', (-9.6,239.5), layer=49, texttype=0))
compact_16x16.add(gdstk.Label('WL9', (-9.6,293.3), layer=49, texttype=0))
compact_16x16.add(gdstk.Label('WL10', (-9.6,298.7), layer=49, texttype=0))
compact_16x16.add(gdstk.Label('WL11', (-9.6,352.5), layer=49, texttype=0))
compact_16x16.add(gdstk.Label('WL12', (-9.6,357.9), layer=49, texttype=0))
compact_16x16.add(gdstk.Label('WL13', (-9.6,411.7), layer=49, texttype=0))
compact_16x16.add(gdstk.Label('WL14', (-9.6,417.1), layer=49, texttype=0))
compact_16x16.add(gdstk.Label('WL15', (-9.6,470.9), layer=49, texttype=0))
compact_16x16.add(gdstk.Label('VDD', (-14.4,29.6), layer=48, texttype=0))
compact_16x16.add(gdstk.Label('VSS', (-19.8,8.2), layer=48, texttype=0))
compact_16x16.add(gdstk.Label('BL0', (0.2,5.7), layer=48, texttype=0))
compact_16x16.add(gdstk.Label('BLB0', (19,5.7), layer=48, texttype=0))
compact_16x16.add(gdstk.Label('BL1', (22.2,5.7), layer=48, texttype=0))
compact_16x16.add(gdstk.Label('BLB1', (41,5.7), layer=48, texttype=0))
compact_16x16.add(gdstk.Label('BL2', (44.2,5.7), layer=48, texttype=0))
compact_16x16.add(gdstk.Label('BLB2', (63,5.7), layer=48, texttype=0))
compact_16x16.add(gdstk.Label('BL3', (66.2,5.7), layer=48, texttype=0))
compact_16x16.add(gdstk.Label('BLB3', (85,5.7), layer=48, texttype=0))
compact_16x16.add(gdstk.Label('BL4', (88.2,5.7), layer=48, texttype=0))
compact_16x16.add(gdstk.Label('BLB4', (107,5.7), layer=48, texttype=0))
compact_16x16.add(gdstk.Label('BL5', (110.2,5.7), layer=48, texttype=0))
compact_16x16.add(gdstk.Label('BLB5', (129,5.7), layer=48, texttype=0))
compact_16x16.add(gdstk.Label('BL6', (132.2,5.7), layer=48, texttype=0))
compact_16x16.add(gdstk.Label('BLB6', (151,5.7), layer=48, texttype=0))
compact_16x16.add(gdstk.Label('BL7', (154.2,5.7), layer=48, texttype=0))
compact_16x16.add(gdstk.Label('BLB7', (173,5.7), layer=48, texttype=0))
compact_16x16.add(gdstk.Label('BL8', (176.2,5.7), layer=48, texttype=0))
compact_16x16.add(gdstk.Label('BLB8', (195,5.7), layer=48, texttype=0))
compact_16x16.add(gdstk.Label('BL9', (198.2,5.7), layer=48, texttype=0))
compact_16x16.add(gdstk.Label('BLB9', (217,5.7), layer=48, texttype=0))
compact_16x16.add(gdstk.Label('BL10', (220.2,5.7), layer=48, texttype=0))
compact_16x16.add(gdstk.Label('BLB10', (239,5.7), layer=48, texttype=0))
compact_16x16.add(gdstk.Label('BL11', (242.2,5.7), layer=48, texttype=0))
compact_16x16.add(gdstk.Label('BLB11', (261,5.7), layer=48, texttype=0))
compact_16x16.add(gdstk.Label('BL12', (264.2,5.7), layer=48, texttype=0))
compact_16x16.add(gdstk.Label('BLB12', (283,5.7), layer=48, texttype=0))
compact_16x16.add(gdstk.Label('BL13', (286.2,5.7), layer=48, texttype=0))
compact_16x16.add(gdstk.Label('BLB13', (305,5.7), layer=48, texttype=0))
compact_16x16.add(gdstk.Label('BL14', (308.2,5.7), layer=48, texttype=0))
compact_16x16.add(gdstk.Label('BLB14', (327,5.7), layer=48, texttype=0))
compact_16x16.add(gdstk.Label('BL15', (330.2,5.7), layer=48, texttype=0))
compact_16x16.add(gdstk.Label('BLB15', (349,5.7), layer=48, texttype=0))

lib.write_gds('compact_16x16.gds')
